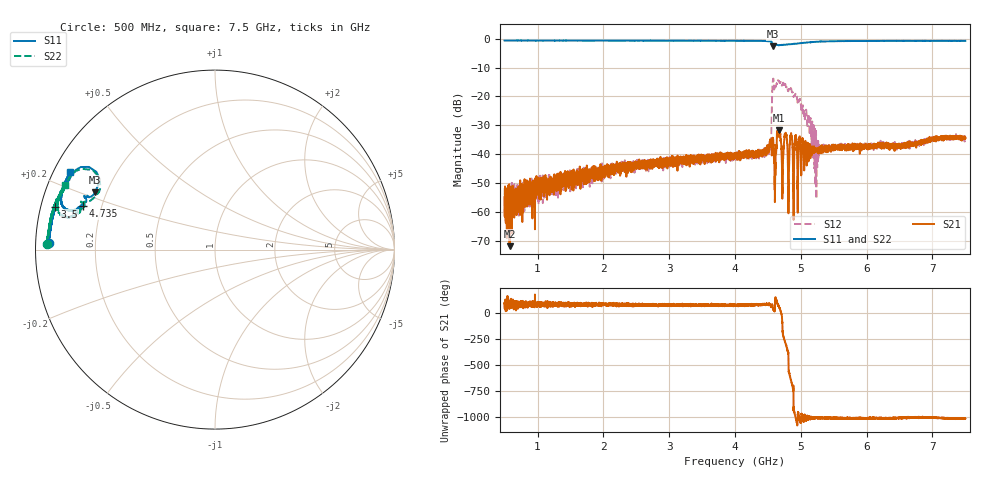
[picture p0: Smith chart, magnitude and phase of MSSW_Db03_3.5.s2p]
!Keysight Technologies,M9374A,MY55442783,A.12.55.05
!Date: Wednesday, May 19, 2021 15:47:45
!Correction: S11(Full 2 Port(1,2))
!S21(Full 2 Port(1,2))
!S12(Full 2 Port(1,2))
!S22(Full 2 Port(1,2))
!S2P File: Measurements: S11, S21, S12, S22:
# Hz S  RI  R 50
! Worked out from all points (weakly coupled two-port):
!   7001 points, 500 MHz to 7.5 GHz, reference 50 ohm
!   highest |S21| = -31.56 dB at 4.668 GHz (marker M1); lowest = -71.8 dB at 575 MHz (marker M2)
!   lowest |S11| = -2.6 dB at 4.581 GHz (marker M3), VSWR 6.73, Z = 7.81 + j11.1 ohm
!   |S11| at or under -10 dB: nowhere
!   |S22| runs from -2.9 to -0.5 dB; largest |S21 - S12| = 0.21
!   S11 on the Smith chart (normalised r, x): 500 MHz: 0.04, +0.02; 3.5 GHz: 0.04, +0.13; 4.735 GHz: 0.13, +0.16; 7.5 GHz: 0.05, +0.25
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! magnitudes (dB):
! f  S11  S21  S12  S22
! 500 MHz  -0.6  -54.8  -51.7  -0.6
! 575 MHz  -0.7  -71.8  -54.4  -0.6
! 1.667 GHz  -0.7  -48.8  -47.5  -0.6
! 2.834 GHz  -0.7  -42.6  -42.0  -0.6
! 3.5 GHz  -0.7  -41.9  -41.4  -0.6
! 4 GHz  -0.7  -40.7  -40.7  -0.7
! 4.491 GHz  -0.9  -37.2  -37.1  -0.8
! 4.525 GHz  -0.9  -36.8  -37.0  -0.9
! 4.558 GHz  -1.3  -39.9  -25.8  -1.5
! 4.581 GHz  -2.6  -35.6  -13.9  -2.6
! 4.6 GHz  -2.3  -46.4  -16.5  -2.2
! 4.668 GHz  -2.3  -31.6  -14.6  -2.3
! 4.701 GHz  -2.2  -36.3  -15.2  -2.2
! 4.735 GHz  -2.2  -39.8  -15.4  -2.1
! 4.766 GHz  -2.1  -33.2  -15.8  -2.1
! 4.799 GHz  -2.0  -38.8  -17.4  -2.0
! 4.852 GHz  -1.9  -32.8  -17.3  -1.9
! 4.92 GHz  -1.7  -33.4  -19.1  -1.7
! 5.167 GHz  -1.2  -39.5  -31.8  -1.1
! 5.27 GHz  -1.0  -38.1  -40.0  -0.9
! 6.334 GHz  -0.8  -38.1  -36.4  -0.8
! 7.5 GHz  -0.8  -34.2  -34.3  -0.8
